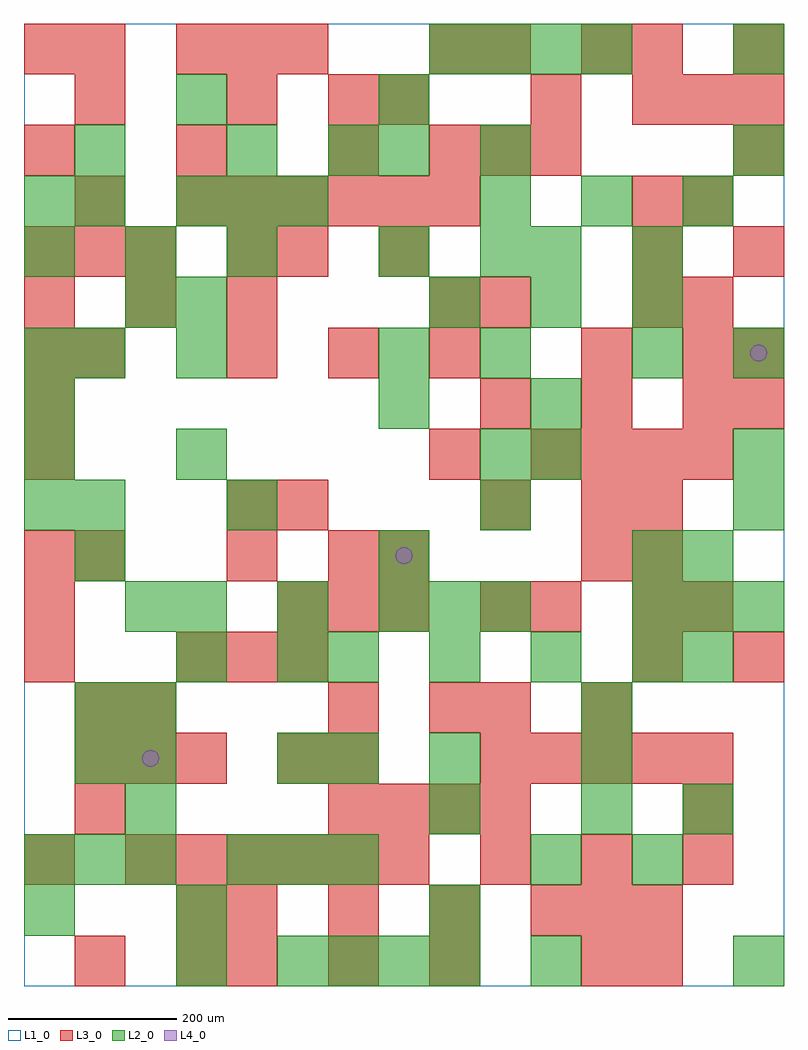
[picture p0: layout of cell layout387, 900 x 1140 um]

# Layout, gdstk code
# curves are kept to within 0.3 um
import gdstk
lib = gdstk.Library(unit=1e-6, precision=1e-09)
def R(c, l, rs):  # rectangles x0, y0, x1, y1
    for r in rs: c.add(gdstk.rectangle(r[:2], r[2:], *l))
def A(c, l, x, y, w, h, nx, ny, dx, dy):  # array of equal rectangles
    R(c, l, [(x+i*dx, y+j*dy, x+i*dx+w, y+j*dy+h) for i in range(nx) for j in range(ny)])
def P(c, l, *ps):  # polygons
    for p in ps: c.add(gdstk.Polygon(p, *l))
L1_0 = (1, 0)
L2_0 = (2, 0)
L3_0 = (3, 0)
L4_0 = (4, 0)

layout387 = lib.new_cell('layout387')
R(layout387, L1_0, [(0,0,900,1140)])
A(layout387, L2_0, 300, 0, 60, 60, 4, 1, 60, 0)
A(layout387, L2_0, 0, 120, 60, 60, 3, 1, 60, 0)
A(layout387, L2_0, 240, 120, 60, 60, 3, 1, 60, 0)
A(layout387, L2_0, 120, 180, 60, 60, 1, 3, 0, 60)
A(layout387, L2_0, 660, 180, 60, 60, 1, 3, 0, 60)
A(layout387, L2_0, 360, 360, 60, 60, 4, 1, 120, 0)
A(layout387, L2_0, 180, 420, 60, 60, 3, 1, 120, 0)
A(layout387, L2_0, 720, 420, 60, 60, 3, 1, 60, 0)
A(layout387, L2_0, 0, 540, 60, 60, 1, 4, 0, 60)
A(layout387, L2_0, 60, 540, 60, 60, 1, 3, 0, 180)
A(layout387, L2_0, 240, 540, 60, 60, 3, 1, 300, 0)
A(layout387, L2_0, 540, 600, 60, 60, 1, 4, 0, 120)
A(layout387, L2_0, 420, 720, 60, 60, 1, 3, 0, 120)
A(layout387, L2_0, 480, 780, 60, 60, 3, 1, 120, 0)
A(layout387, L2_0, 0, 840, 60, 60, 3, 1, 120, 0)
A(layout387, L2_0, 180, 900, 60, 60, 3, 1, 60, 0)
A(layout387, L2_0, 540, 900, 60, 60, 3, 1, 120, 0)
A(layout387, L2_0, 480, 1080, 60, 60, 4, 1, 60, 0)
R(layout387, L2_0, [(180,0,240,60), (600,0,660,60), (840,0,900,60), (0,60,60,120), (180,60,240,120), (480,60,540,120), (600,120,660,180), (720,120,780,180), (480,180,540,240), (780,180,840,240), (60,240,120,300), (300,240,360,300), (360,240,420,300), (480,240,540,300), (60,300,120,360), (180,360,240,420), (300,360,360,420), (780,360,840,420), (120,420,180,480), (480,420,540,480), (540,420,600,480), (60,480,120,540), (420,480,480,540), (720,480,780,540), (780,480,840,540), (180,600,240,660), (600,600,660,660), (840,600,900,660), (420,660,480,720), (600,660,660,720), (180,720,240,780), (720,720,780,780), (840,720,900,780), (120,780,180,840), (180,780,240,840), (600,840,660,900), (720,840,780,900), (0,900,60,960), (60,960,120,1020), (240,960,300,1020), (360,960,420,1020), (840,960,900,1020), (180,1020,240,1080), (420,1020,480,1080), (840,1080,900,1140)])
A(layout387, L3_0, 240, 0, 60, 60, 3, 2, 120, 720)
A(layout387, L3_0, 240, 60, 60, 60, 4, 1, 120, 0)
A(layout387, L3_0, 120, 120, 60, 60, 6, 1, 60, 0)
A(layout387, L3_0, 540, 120, 60, 60, 3, 2, 120, 540)
A(layout387, L3_0, 360, 180, 60, 60, 4, 1, 60, 0)
A(layout387, L3_0, 60, 240, 60, 60, 3, 1, 60, 0)
A(layout387, L3_0, 300, 240, 60, 60, 1, 3, 0, 300)
A(layout387, L3_0, 540, 240, 60, 60, 5, 1, 60, 0)
A(layout387, L3_0, 540, 300, 60, 60, 1, 3, 0, 120)
A(layout387, L3_0, 0, 360, 60, 60, 1, 3, 0, 60)
A(layout387, L3_0, 180, 360, 60, 60, 3, 2, 60, 720)
A(layout387, L3_0, 720, 360, 60, 60, 1, 4, 0, 60)
A(layout387, L3_0, 300, 420, 60, 60, 3, 1, 60, 0)
A(layout387, L3_0, 0, 600, 60, 60, 1, 3, 0, 60)
A(layout387, L3_0, 600, 600, 60, 60, 4, 1, 60, 0)
A(layout387, L3_0, 840, 720, 60, 60, 1, 4, 0, 120)
A(layout387, L3_0, 0, 780, 60, 60, 3, 1, 120, 0)
A(layout387, L3_0, 720, 780, 60, 60, 1, 3, 0, 60)
A(layout387, L3_0, 0, 840, 60, 60, 3, 1, 60, 0)
A(layout387, L3_0, 180, 900, 60, 60, 6, 1, 60, 0)
A(layout387, L3_0, 0, 960, 60, 60, 3, 1, 180, 0)
A(layout387, L3_0, 480, 960, 60, 60, 3, 1, 60, 0)
A(layout387, L3_0, 720, 1020, 60, 60, 3, 1, 60, 0)
R(layout387, L3_0, [(60,0,120,60), (180,0,240,60), (660,0,720,60), (720,0,780,60), (180,60,240,120), (660,60,720,120), (720,60,780,120), (0,120,60,180), (60,180,120,240), (780,180,840,240), (360,240,420,300), (60,300,120,360), (120,300,180,360), (360,300,420,360), (480,300,540,360), (660,300,720,360), (840,360,900,420), (600,420,660,480), (780,420,840,480), (60,480,120,540), (240,480,300,540), (360,480,420,540), (420,480,480,540), (660,480,720,540), (240,540,300,600), (660,540,720,600), (480,600,540,660), (840,660,900,720), (60,720,120,780), (660,720,720,780), (780,720,840,780), (480,780,540,840), (540,780,600,840), (780,780,840,840), (240,840,300,900), (420,840,480,900), (60,900,120,960), (780,900,840,960), (60,1020,120,1080), (240,1020,300,1080), (360,1020,420,1080), (420,1020,480,1080), (600,1020,660,1080), (0,1080,60,1140), (60,1080,120,1140), (480,1080,540,1140), (540,1080,600,1140), (660,1080,720,1140), (720,1080,780,1140)])
P(layout387, L4_0, [(160,270),(159.239,273.827),(157.071,277.071),(153.827,279.239),(150,280),(146.173,279.239),(142.929,277.071),(140.761,273.827),(140,270),(140.761,266.173),(142.929,262.929),(146.173,260.761),(150,260),(153.827,260.761),(157.071,262.929),(159.239,266.173)],
  [(460,510),(459.239,513.827),(457.071,517.071),(453.827,519.239),(450,520),(446.173,519.239),(442.929,517.071),(440.761,513.827),(440,510),(440.761,506.173),(442.929,502.929),(446.173,500.761),(450,500),(453.827,500.761),(457.071,502.929),(459.239,506.173)],
  [(880,750),(879.239,753.827),(877.071,757.071),(873.827,759.239),(870,760),(866.173,759.239),(862.929,757.071),(860.761,753.827),(860,750),(860.761,746.173),(862.929,742.929),(866.173,740.761),(870,740),(873.827,740.761),(877.071,742.929),(879.239,746.173)])

lib.write_gds('layout387.gds')
